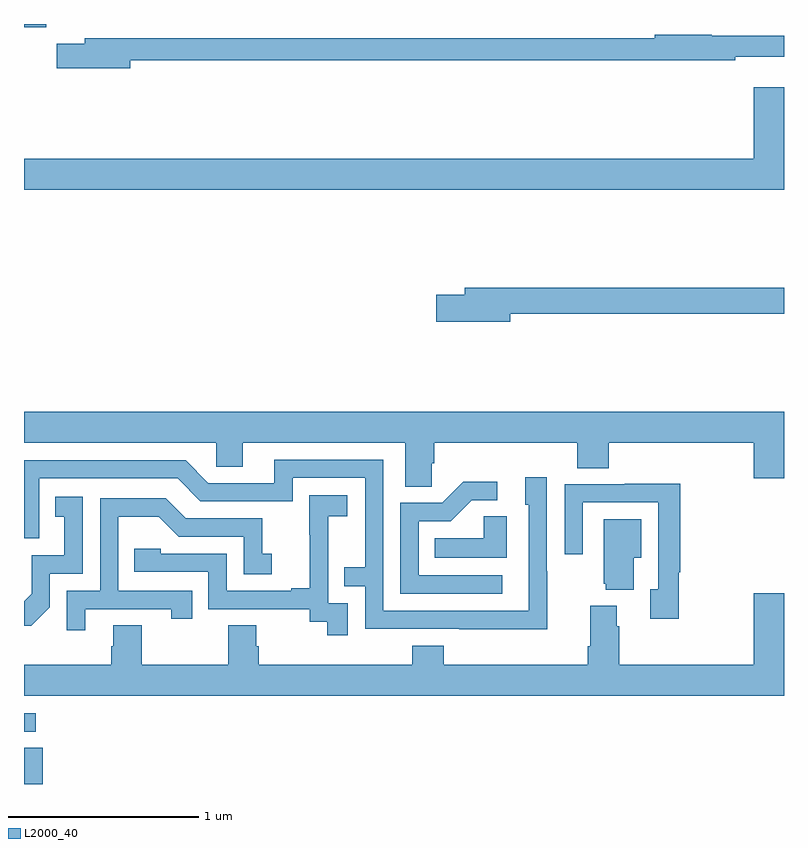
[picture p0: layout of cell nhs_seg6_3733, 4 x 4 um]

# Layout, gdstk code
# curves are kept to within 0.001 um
import gdstk
lib = gdstk.Library(unit=1e-6, precision=1e-09)
def R(c, l, rs):  # rectangles x0, y0, x1, y1
    for r in rs: c.add(gdstk.rectangle(r[:2], r[2:], *l))
def P(c, l, *ps):  # polygons
    for p in ps: c.add(gdstk.Polygon(p, *l))
L2000_40 = (2000, 40)

nhs_seg6_3733 = lib.new_cell('nhs_seg6_3733')
R(nhs_seg6_3733, L2000_40, [(329,985.5,329.098,985.691), (329,985.776,329.062,985.872), (329,989.483,329.116,989.5)])
P(nhs_seg6_3733, L2000_40, [(329.56,989.308),(332.744,989.308),(332.744,989.327),(333,989.327),(333,989.437),(332.62,989.437),(332.62,989.444),(332.32,989.444),(332.32,989.425),(332.068,989.425),(332.068,989.424),(329.321,989.424),(329.321,989.395),(329.172,989.395),(329.172,989.266),(329.56,989.266)],
  [(333,989.167),(332.84,989.167),(332.84,988.792),(329,988.792),(329,988.628),(333,988.628)],
  [(331.558,987.976),(333,987.976),(333,988.112),(331.319,988.112),(331.319,988.076),(331.17,988.076),(331.17,987.934),(331.558,987.934)],
  [(331.146,987.187),(331.16,987.187),(331.16,987.296),(331.913,987.296),(331.913,987.163),(332.078,987.163),(332.078,987.296),(332.84,987.296),(332.84,987.108),(333,987.108),(333,987.46),(329,987.46),(329,987.296),(330.012,987.296),(330.012,987.169),(330.151,987.169),(330.151,987.296),(331.007,987.296),(331.007,987.064),(331.146,987.064)],
  [(331.755,986.621),(331.752,986.621),(331.752,987.115),(331.637,987.115),(331.637,986.97),(331.656,986.97),(331.656,986.412),(330.891,986.412),(330.891,987.207),(330.317,987.207),(330.317,987.084),(329.97,987.084),(329.85,987.204),(329,987.204),(329,986.793),(329.079,986.793),(329.079,987.108),(329.808,987.108),(329.928,986.988),(330.414,986.988),(330.414,987.111),(330.795,987.111),(330.795,986.642),(330.685,986.642),(330.685,986.541),(330.795,986.541),(330.795,986.316),(331.755,986.315)],
  [(331.516,986.598),(331.077,986.598),(331.077,986.883),(331.246,986.883),(331.357,986.994),(331.492,986.994),(331.492,987.092),(331.313,987.092),(331.2,986.979),(330.981,986.979),(330.981,986.502),(331.516,986.502)],
  [(332.446,986.614),(332.453,986.614),(332.453,987.08),(332.161,987.08),(332.161,987.078),(331.845,987.078),(331.845,986.709),(331.941,986.709),(331.941,986.982),(332.337,986.982),(332.337,986.526),(332.297,986.526),(332.297,986.37),(332.446,986.37)],
  [(330.705,986.451),(330.6,986.451),(330.6,986.681),(330.602,986.681),(330.602,986.909),(330.7,986.909),(330.7,987.019),(330.502,987.019),(330.502,986.813),(330.503,986.813),(330.503,986.53),(330.407,986.53),(330.407,986.517),(330.066,986.517),(330.066,986.712),(329.721,986.712),(329.721,986.739),(329.581,986.739),(329.581,986.616),(329.97,986.616),(329.97,986.421),(330.504,986.421),(330.504,986.353),(330.597,986.353),(330.597,986.283),(330.705,986.283)],
  [(329.136,986.43),(329.136,986.607),(329.31,986.607),(329.31,987.013),(329.164,987.013),(329.164,986.907),(329.213,986.907),(329.213,986.703),(329.04,986.703),(329.04,986.502),(329,986.462),(329,986.333),(329.038,986.333)],
  [(329.323,986.421),(329.774,986.421),(329.774,986.37),(329.885,986.37),(329.885,986.517),(329.496,986.517),(329.496,986.906),(329.71,986.906),(329.814,986.802),(330.156,986.802),(330.156,986.604),(330.304,986.604),(330.304,986.713),(330.255,986.713),(330.255,986.898),(329.851,986.898),(329.746,987.003),(329.4,987.003),(329.4,986.517),(329.226,986.517),(329.226,986.31),(329.323,986.31)],
  [(331.54,986.909),(331.419,986.909),(331.419,986.794),(331.162,986.794),(331.162,986.69),(331.54,986.69)],
  [(332.209,986.69),(332.248,986.69),(332.248,986.893),(332.051,986.893),(332.051,986.553),(332.063,986.553),(332.063,986.522),(332.209,986.522)],
  [(333,986.503),(332.84,986.503),(332.84,986.128),(332.132,986.128),(332.132,986.33),(332.119,986.33),(332.119,986.437),(331.979,986.437),(331.979,986.224),(331.967,986.224),(331.967,986.128),(331.208,986.128),(331.208,986.227),(331.043,986.227),(331.043,986.128),(330.236,986.128),(330.236,986.226),(330.223,986.226),(330.223,986.336),(330.076,986.336),(330.076,986.128),(329.619,986.128),(329.619,986.336),(329.471,986.336),(329.471,986.226),(329.459,986.226),(329.459,986.128),(329,986.128),(329,985.964),(333,985.964)])

lib.write_gds('nhs_seg6_3733.gds')
